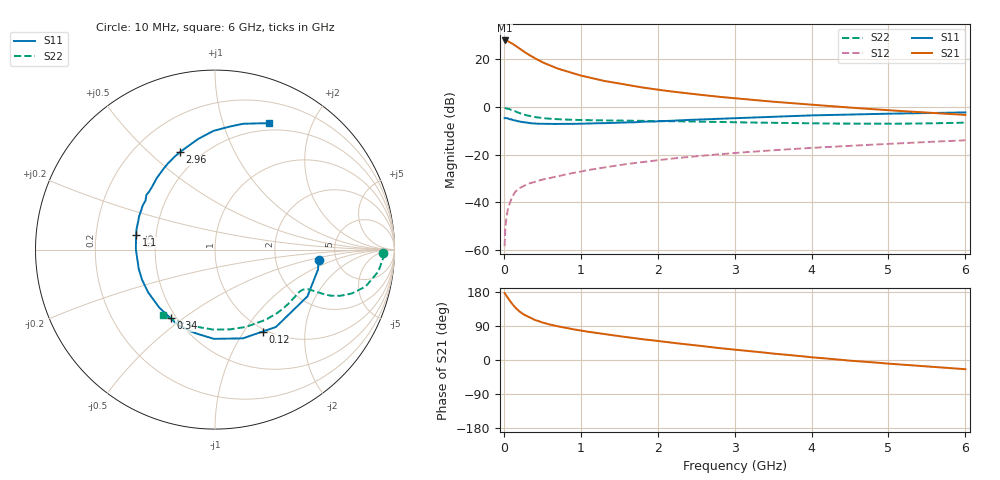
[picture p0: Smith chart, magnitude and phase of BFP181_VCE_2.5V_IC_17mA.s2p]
! Infineon Technologies  Discrete & RF Semiconductors
! BFP181
! VCE = 2.5 V,  IC =  17 mA
! Common Emitter S-Parameters:  Jan 2016
# GHz  S  MA  R  50
!  f  S11  S21  S12  S22
! GHz  MAG  ANG  MAG  ANG  MAG  ANG  MAG  ANG
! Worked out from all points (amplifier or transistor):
!   210 points, 10 MHz to 6 GHz, reference 50 ohm
!   highest |S21| = 27.8 dB at 10 MHz (marker M1)
!   |S21| within 3 dB of that: start of sweep to 187.5 MHz
!   unconditionally stable (mu >= 1): start of sweep to 13.01 MHz; 528.1 MHz to end of sweep
!   at 185 MHz: K = 0.49, MSG = 29.7 dB, |S12| = -34.6 dB
!   at 1.52 GHz: K = 1.42, MAG = 13.1 dB, |S12| = -24.4 dB
!   at 6 GHz: K = 1.10, MAG = 3.4 dB, |S12| = -14.0 dB
!   S11 on the Smith chart (normalised r, x): 10 MHz: 3.65, -0.63; 120 MHz: 0.96, -1.22; 340 MHz: 0.47, -0.45; 1.1 GHz: 0.38, +0.08; 2.96 GHz: 0.39, +0.63; 6 GHz: 0.42, +1.43
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0.01  0.5802 -5.7  24.61 176.6  0.0012 86.4  0.9382 -1.2
0.05  0.5773 -26.8  23.91 164.0  0.0069 80.2  0.9181 -7.6
0.1  0.5487 -51.8  21.68 149.8  0.0119 66.8  0.8647 -13.7
0.12  0.5282 -59.8  20.61 145.4  0.0138 64.3  0.8384 -15.3
0.15  0.5183 -72.6  19.26 138.0  0.0167 61.6  0.8003 -17.8
0.2  0.4972 -90.7  16.87 128.5  0.0195 57.0  0.7427 -20.3
0.24  0.4796 -101.7  15.14 122.7  0.0211 53.7  0.7053 -21.4
0.3  0.469 -115.9  13.08 115.5  0.0238 52.4  0.6604 -22.2
0.34  0.4552 -122.9  11.99 112.2  0.025 51.8  0.6408 -22.4
0.4  0.4481 -133.9  10.47 105.9  0.0267 50.9  0.6115 -22.6
0.5  0.4421 -147.3  8.6 99.0  0.0298 50.4  0.5804 -22.8
0.6  0.44 -157.6  7.36 93.5  0.0325 51.4  0.5614 -23.1
0.8  0.4366 -173.6  5.635 84.9  0.0381 53.1  0.541 -24.2
1.02  0.4434 173.5  4.449 77.0  0.0445 54.5  0.5278 -26.1
1.1  0.4474 169.4  4.144 74.4  0.0475 54.4  0.5247 -27.0
1.5  0.4645 153.0  3.064 62.8  0.0599 55.2  0.5145 -32.1
2.02  0.4968 134.5  2.258 49.7  0.0765 53.4  0.5031 -40.0
2.96  0.5763 109.9  1.536 28.2  0.1063 47.8  0.4767 -56.9
3.1  0.5868 106.8  1.466 25.5  0.1106 46.8  0.4719 -59.7
4.1  0.6661 89.3  1.079 5.6  0.1408 39.2  0.4492 -81.9
5.1  0.7224 76.2  0.829 -11.0  0.1704 31.6  0.4423 -106.6
6  0.7645 67.0  0.678 -24.3  0.1986 23.9  0.4667 -128.5
